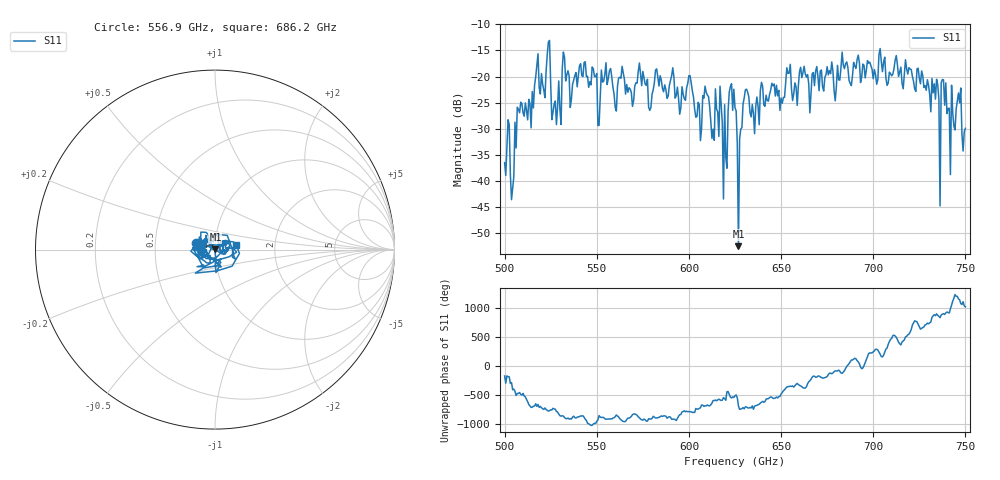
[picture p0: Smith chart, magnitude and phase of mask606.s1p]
!Created with skrf (http://scikit-rf.org).
# GHz S MA R 50.0
!freq magS11 angS11
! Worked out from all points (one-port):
!   401 points, 500 GHz to 750 GHz, reference 50 ohm
!   lowest |S11| = -52.4 dB at 626.9 GHz (marker M1), VSWR 1.00, Z = 50.2 + j0.106 ohm
!   |S11| at or under -10 dB: start of sweep to end of sweep
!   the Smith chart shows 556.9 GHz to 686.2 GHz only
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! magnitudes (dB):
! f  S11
! 500 GHz  -36.5
! 504.4 GHz  -41.5
! 508.1 GHz  -26.9
! 513.1 GHz  -24.4
! 517.5 GHz  -17.9
! 523.8 GHz  -13.4
! 526.9 GHz  -25.3
! 531.2 GHz  -18.6
! 562.5 GHz  -20.1
! 593.8 GHz  -22.0
! 600.6 GHz  -19.9
! 605.6 GHz  -25.4
! 609.4 GHz  -23.0
! 612.5 GHz  -31.8
! 616.9 GHz  -21.8
! 619.4 GHz  -25.4
! 623.1 GHz  -21.4
! 625 GHz  -25.9
! 626.9 GHz  -52.4
! 630.6 GHz  -22.6
! 656.2 GHz  -24.6
! 687.5 GHz  -21.3
! 718.8 GHz  -19.5
! 735 GHz  -21.5
! 738.1 GHz  -20.6
! 743.1 GHz  -26.9
! 746.2 GHz  -23.1
! 750 GHz  -29.9
